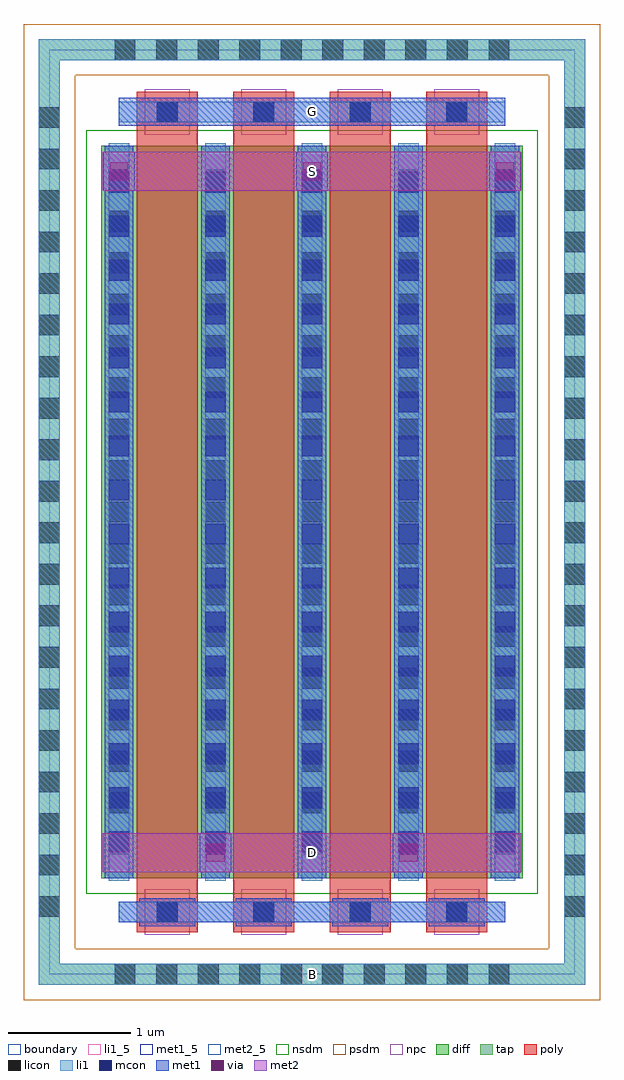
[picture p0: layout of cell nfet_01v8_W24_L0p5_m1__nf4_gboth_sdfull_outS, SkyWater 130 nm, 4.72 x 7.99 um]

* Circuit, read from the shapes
.subckt nfet_01v8_W24_L0p5_m1__nf4_gboth_sdfull_outS B D G S
XM1 D G S B sky130_fd_pr__nfet_01v8 w=6 l=0.5 m=4
.ends

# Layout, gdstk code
import gdstk
lib = gdstk.Library(unit=1e-6, precision=1e-09)
def R(c, l, rs):  # rectangles x0, y0, x1, y1
    for r in rs: c.add(gdstk.rectangle(r[:2], r[2:], *l))
def A(c, l, x, y, w, h, nx, ny, dx, dy):  # array of equal rectangles
    R(c, l, [(x+i*dx, y+j*dy, x+i*dx+w, y+j*dy+h) for i in range(nx) for j in range(ny)])
diff = (65, 20)
tap = (65, 44)
poly = (66, 20)
licon = (66, 44)
li1_5 = (67, 5)
li1 = (67, 20)
mcon = (67, 44)
met1_5 = (68, 5)
met1 = (68, 20)
via = (68, 44)
met2_5 = (69, 5)
met2 = (69, 20)
nsdm = (93, 44)
psdm = (94, 20)
npc = (95, 20)
boundary = (235, 4)

sky130_fd_pr__nfet_01v8_ = lib.new_cell('sky130_fd_pr__nfet_01v8_UTKQY2')
R(sky130_fd_pr__nfet_01v8_, diff, [(-1.725,-3,1.725,3)])
R(sky130_fd_pr__nfet_01v8_, tap, [(-2.235,-3.87,2.235,-3.7), (-2.235,-3.7,-2.065,3.7), (2.065,-3.7,2.235,3.7), (-2.235,3.7,2.235,3.87)])
A(sky130_fd_pr__nfet_01v8_, poly, -1.435, -3.44, 0.5, 6.88, 4, 1, 0.79, 0)
A(sky130_fd_pr__nfet_01v8_, licon, -1.615, -3.87, 0.17, 0.17, 10, 2, 0.34, 7.57)
A(sky130_fd_pr__nfet_01v8_, licon, -1.27, -3.36, 0.17, 0.17, 4, 2, 0.79, 6.55)
A(sky130_fd_pr__nfet_01v8_, licon, -2.235, -3.315, 0.17, 0.17, 1, 20, 0, 0.34)
A(sky130_fd_pr__nfet_01v8_, licon, 2.065, -3.315, 0.17, 0.17, 1, 20, 0, 0.34)
A(sky130_fd_pr__nfet_01v8_, licon, -1.665, -2.805, 0.17, 0.17, 5, 17, 0.79, 0.34)
A(sky130_fd_pr__nfet_01v8_, li1, -1.665, -3.02, 0.17, 6.04, 5, 1, 0.79, 0)
R(sky130_fd_pr__nfet_01v8_, li1, [(-2.235,-3.87,2.235,-3.7), (-2.235,-3.7,-2.065,3.7), (2.065,-3.7,2.235,3.7), (-1.58,-3.36,1.58,-3.19), (-1.58,3.19,1.58,3.36), (-2.235,3.7,2.235,3.87)])
A(sky130_fd_pr__nfet_01v8_, mcon, -1.27, -3.36, 0.17, 0.17, 4, 2, 0.79, 6.55)
A(sky130_fd_pr__nfet_01v8_, mcon, -1.665, -2.785, 0.17, 0.17, 5, 16, 0.79, 0.36)
A(sky130_fd_pr__nfet_01v8_, met1, -1.415, -3.39, 0.46, 0.03, 4, 2, 0.79, 0.2)
A(sky130_fd_pr__nfet_01v8_, met1, -1.695, -3, 0.23, 6, 5, 1, 0.79, 0)
A(sky130_fd_pr__nfet_01v8_, met1, -1.415, 3.16, 0.46, 0.03, 4, 2, 0.79, 0.2)
R(sky130_fd_pr__nfet_01v8_, met1, [(-1.58,-3.36,1.58,-3.19), (-1.58,3.19,1.58,3.36)])
R(sky130_fd_pr__nfet_01v8_, nsdm, [(-1.85,-3.125,1.85,3.125)])
R(sky130_fd_pr__nfet_01v8_, psdm, [(-2.36,-3.995,2.36,-3.575), (-2.36,-3.575,-1.94,3.575), (1.94,-3.575,2.36,3.575), (-2.36,3.575,2.36,3.995)])
A(sky130_fd_pr__nfet_01v8_, npc, -1.37, -3.46, 0.37, 0.37, 4, 2, 0.79, 6.55)
R(sky130_fd_pr__nfet_01v8_, boundary, [(-2.15,-3.785,2.15,3.785)])
sky130_fd_pr__nfet_01v8_.add(gdstk.Label('B', (0,-3.785), layer=67, texttype=5))
sky130_fd_pr__nfet_01v8_.add(gdstk.Label('D0', (-1.58,0), layer=67, texttype=5))
sky130_fd_pr__nfet_01v8_.add(gdstk.Label('G', (1.185,3.275), layer=67, texttype=5))
sky130_fd_pr__nfet_01v8_.add(gdstk.Label('G', (0.395,3.275), layer=67, texttype=5))
sky130_fd_pr__nfet_01v8_.add(gdstk.Label('G', (-0.395,3.275), layer=67, texttype=5))
sky130_fd_pr__nfet_01v8_.add(gdstk.Label('G', (-1.185,3.275), layer=67, texttype=5))
sky130_fd_pr__nfet_01v8_.add(gdstk.Label('S1', (-0.79,0), layer=67, texttype=5))
sky130_fd_pr__nfet_01v8_.add(gdstk.Label('D2', (0,0), layer=67, texttype=5))
sky130_fd_pr__nfet_01v8_.add(gdstk.Label('S3', (0.79,0), layer=67, texttype=5))

nfet_01v8_w24_l0p5_m1__n = lib.new_cell('nfet_01v8_W24_L0p5_m1__nf4_gboth_sdfull_outS')
R(nfet_01v8_w24_l0p5_m1__n, li1_5, [(2.065,-0.085,2.235,0.085)])
R(nfet_01v8_w24_l0p5_m1__n, li1, [(2.065,-0.085,2.235,0.085)])
R(nfet_01v8_w24_l0p5_m1__n, met1_5, [(0.57,6.945,3.73,7.175)])
A(nfet_01v8_w24_l0p5_m1__n, met1, 0.44, 6.415, 0.26, 0.32, 3, 1, 1.58, 0)
R(nfet_01v8_w24_l0p5_m1__n, met1, [(1.23,0.835,1.49,1.155), (2.81,0.835,3.07,1.155), (0.57,6.945,3.73,7.175)])
A(nfet_01v8_w24_l0p5_m1__n, via, 0.495, 6.5, 0.15, 0.15, 3, 1, 1.58, 0)
R(nfet_01v8_w24_l0p5_m1__n, via, [(1.285,0.92,1.435,1.07), (2.865,0.92,3.015,1.07)])
R(nfet_01v8_w24_l0p5_m1__n, met2_5, [(0.435,0.835,3.865,1.155), (0.435,6.415,3.865,6.735)])
R(nfet_01v8_w24_l0p5_m1__n, met2, [(0.435,0.835,3.865,1.155), (0.435,6.415,3.865,6.735)])
nfet_01v8_w24_l0p5_m1__n.add(gdstk.Reference(sky130_fd_pr__nfet_01v8_, (2.15,3.785)))
nfet_01v8_w24_l0p5_m1__n.add(gdstk.Label('S', (2.15,6.575), layer=69, texttype=5))
nfet_01v8_w24_l0p5_m1__n.add(gdstk.Label('D', (2.15,0.995), layer=69, texttype=5))
nfet_01v8_w24_l0p5_m1__n.add(gdstk.Label('G', (2.15,7.06), layer=68, texttype=5))
nfet_01v8_w24_l0p5_m1__n.add(gdstk.Label('B', (2.15,0), layer=67, texttype=5))

lib.write_gds('nfet_01v8_W24_L0p5_m1__nf4_gboth_sdfull_outS.gds')
